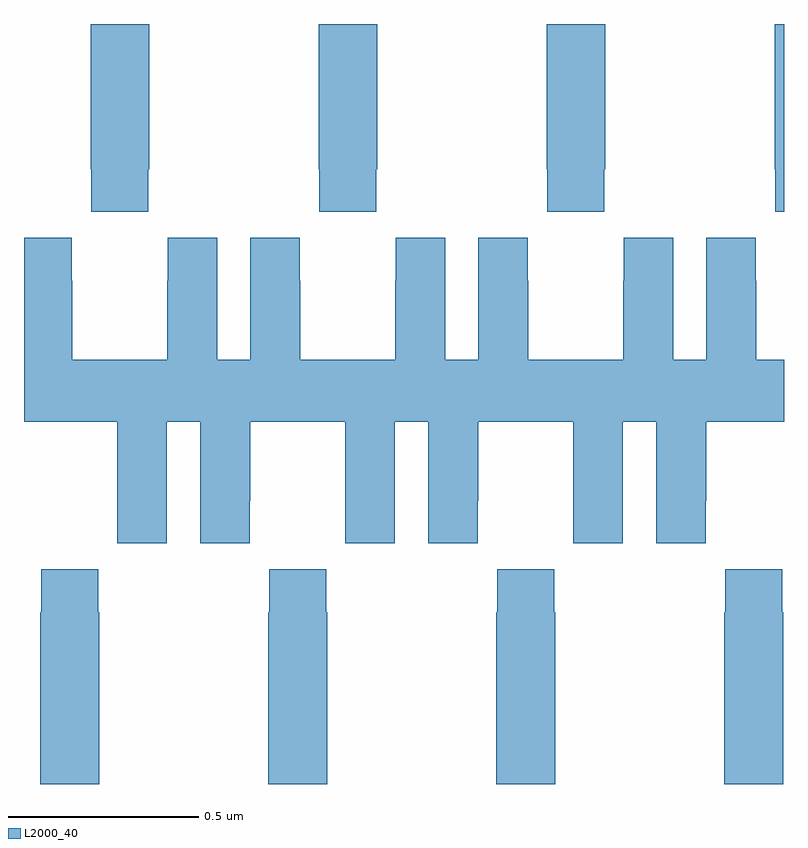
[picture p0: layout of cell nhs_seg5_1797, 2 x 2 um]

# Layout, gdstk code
import gdstk
lib = gdstk.Library(unit=1e-6, precision=1e-09)
def P(c, l, *ps):  # polygons
    for p in ps: c.add(gdstk.Polygon(p, *l))
L2000_40 = (2000, 40)

nhs_seg5_1797 = lib.new_cell('nhs_seg5_1797')
P(nhs_seg5_1797, L2000_40, [(137,865.799),(136.975,865.799),(136.975,865.417),(136.977,865.417),(136.977,865.305),(137,865.305)],
  [(136.527,865.417),(136.53,865.417),(136.53,865.799),(136.375,865.799),(136.375,865.417),(136.377,865.417),(136.377,865.305),(136.527,865.305)],
  [(135.927,865.417),(135.93,865.417),(135.93,865.799),(135.775,865.799),(135.775,865.417),(135.777,865.417),(135.777,865.305),(135.927,865.305)],
  [(135.327,865.417),(135.33,865.417),(135.33,865.799),(135.175,865.799),(135.175,865.417),(135.177,865.417),(135.177,865.305),(135.327,865.305)],
  [(136.664,864.432),(136.794,864.432),(136.794,864.544),(136.795,864.544),(136.795,864.752),(137,864.752),(137,864.916),(136.927,864.916),(136.927,865.124),(136.926,865.124),(136.926,865.237),(136.796,865.237),(136.796,864.916),(136.708,864.916),(136.708,865.237),(136.578,865.237),(136.578,865.124),(136.577,865.124),(136.577,864.916),(136.327,864.916),(136.327,865.124),(136.326,865.124),(136.326,865.237),(136.196,865.237),(136.196,864.916),(136.108,864.916),(136.108,865.237),(135.978,865.237),(135.978,865.124),(135.977,865.124),(135.977,864.916),(135.727,864.916),(135.727,865.124),(135.726,865.124),(135.726,865.237),(135.596,865.237),(135.596,864.916),(135.508,864.916),(135.508,865.237),(135.378,865.237),(135.378,865.124),(135.377,865.124),(135.377,864.916),(135.127,864.916),(135.127,865.124),(135.126,865.124),(135.126,865.237),(135,865.237),(135,864.752),(135.245,864.752),(135.245,864.544),(135.246,864.544),(135.246,864.432),(135.376,864.432),(135.376,864.752),(135.464,864.752),(135.464,864.432),(135.594,864.432),(135.594,864.544),(135.595,864.544),(135.595,864.752),(135.845,864.752),(135.845,864.544),(135.846,864.544),(135.846,864.432),(135.976,864.432),(135.976,864.752),(136.064,864.752),(136.064,864.432),(136.194,864.432),(136.194,864.544),(136.195,864.544),(136.195,864.752),(136.445,864.752),(136.445,864.544),(136.446,864.544),(136.446,864.432),(136.576,864.432),(136.576,864.752),(136.664,864.752)],
  [(135.198,864.251),(135.195,864.251),(135.195,864.364),(135.045,864.364),(135.045,864.251),(135.043,864.251),(135.043,863.799),(135.198,863.799)],
  [(136.998,864.251),(136.995,864.251),(136.995,864.364),(136.845,864.364),(136.845,864.251),(136.843,864.251),(136.843,863.799),(136.998,863.799)],
  [(136.398,864.251),(136.395,864.251),(136.395,864.364),(136.245,864.364),(136.245,864.251),(136.243,864.251),(136.243,863.799),(136.398,863.799)],
  [(135.798,864.251),(135.795,864.251),(135.795,864.364),(135.645,864.364),(135.645,864.251),(135.643,864.251),(135.643,863.799),(135.798,863.799)])

lib.write_gds('nhs_seg5_1797.gds')
